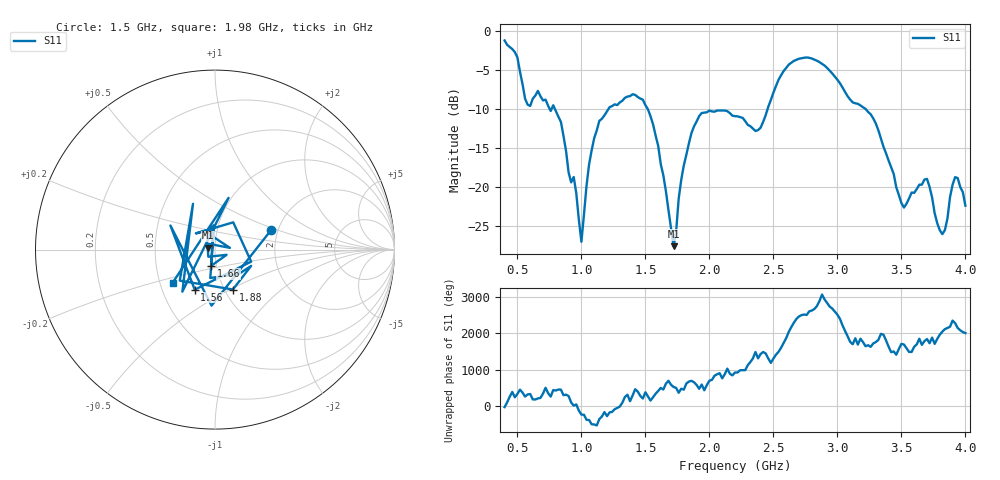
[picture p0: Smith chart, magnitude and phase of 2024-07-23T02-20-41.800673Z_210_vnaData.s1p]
!Created with skrf (http://scikit-rf.org).
# Hz S RI R 50.0
!freq ReS11 ImS11
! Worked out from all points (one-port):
!   181 points, 400 MHz to 4 GHz, reference 50 ohm
!   lowest |S11| = -27.6 dB at 1.72 GHz (marker M1), VSWR 1.09, Z = 46.1 + j0.93 ohm
!   |S11| at or under -10 dB: 791.6 MHz to 1.213 GHz (421.4 MHz wide, 42 % of centre); 1.517 GHz to 2.456 GHz (939 MHz wide, 47.3 % of centre); 3.217 GHz to end of sweep (the widest 3 of 4)
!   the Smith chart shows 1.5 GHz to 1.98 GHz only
!   S11 on the Smith chart (normalised r, x): 1.5 GHz: 1.84, +0.46; 1.56 GHz: 0.73, -0.35; 1.66 GHz: 0.94, -0.17; 1.88 GHz: 1.09, -0.52; 1.98 GHz: 0.58, -0.24
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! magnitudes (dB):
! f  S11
! 400 MHz  -1.3
! 500 MHz  -3.4
! 580 MHz  -9.5
! 660 MHz  -7.7
! 860 MHz  -13.5
! 940 MHz  -18.8
! 1 GHz  -27.1
! 1.1 GHz  -13.8
! 1.3 GHz  -9.2
! 1.5 GHz  -9.5
! 1.56 GHz  -12.0
! 1.66 GHz  -20.6
! 1.72 GHz  -27.6
! 1.76 GHz  -21.5
! 1.88 GHz  -12.3
! 1.98 GHz  -10.5
! 2.2 GHz  -11.0
! 2.38 GHz  -12.8
! 2.66 GHz  -3.9
! 2.88 GHz  -4.3
! 3.1 GHz  -8.8
! 3.28 GHz  -11.2
! 3.5 GHz  -22.1
! 3.56 GHz  -21.5
! 3.7 GHz  -19.0
! 3.82 GHz  -26.1
! 3.92 GHz  -18.8
! 4 GHz  -22.4
